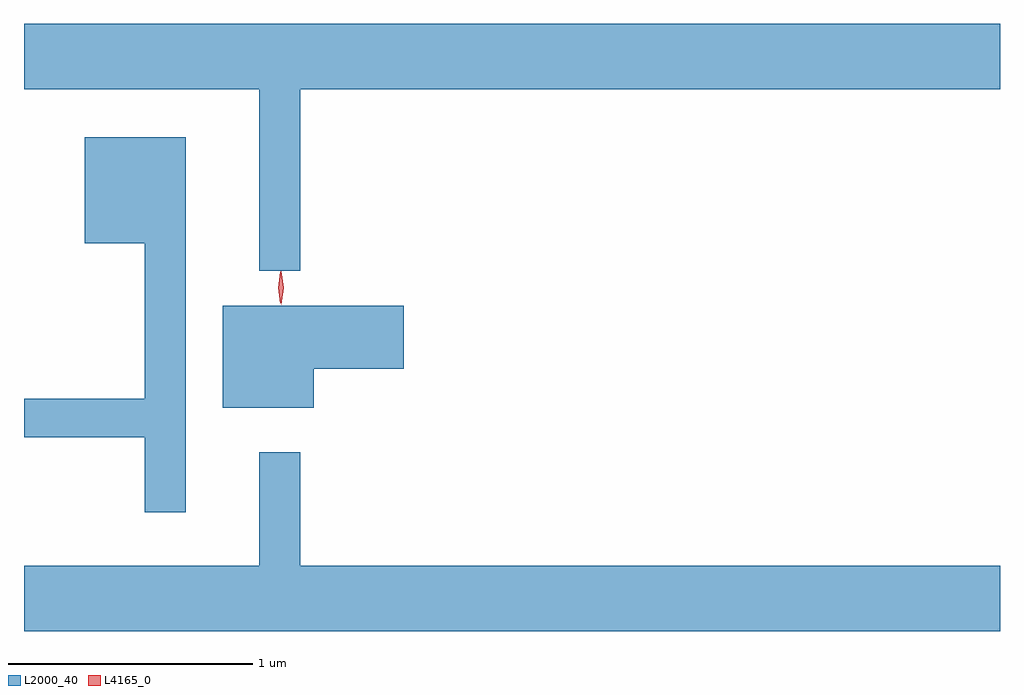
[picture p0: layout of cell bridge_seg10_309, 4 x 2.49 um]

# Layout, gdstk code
import gdstk
lib = gdstk.Library(unit=1e-6, precision=1e-09)
def P(c, l, *ps):  # polygons
    for p in ps: c.add(gdstk.Polygon(p, *l))
L2000_40 = (2000, 40)
L4165_0 = (4165, 0)

bridge_seg10_309 = lib.new_cell('bridge_seg10_309')
P(bridge_seg10_309, L2000_40, [(1406.469,2198.276),(1409.337,2198.276),(1409.337,2198.544),(1405.337,2198.544),(1405.337,2198.276),(1406.301,2198.276),(1406.301,2197.533),(1406.469,2197.533)],
  [(1405.999,2198.079),(1405.586,2198.079),(1405.586,2197.646),(1405.831,2197.646),(1405.831,2197.009),(1405.337,2197.009),(1405.337,2196.851),(1405.831,2196.851),(1405.831,2196.543),(1405.999,2196.543)],
  [(1406.524,2197.131),(1406.894,2197.131),(1406.894,2197.389),(1406.151,2197.389),(1406.151,2196.971),(1406.524,2196.971)],
  [(1409.337,2196.324),(1406.469,2196.324),(1406.469,2196.788),(1406.301,2196.788),(1406.301,2196.324),(1405.337,2196.324),(1405.337,2196.056),(1409.337,2196.056)])
P(bridge_seg10_309, L4165_0, [(1406.391,2197.394),(1406.391,2197.394),(1406.381,2197.462),(1406.39,2197.53),(1406.391,2197.53),(1406.391,2197.53),(1406.401,2197.462),(1406.392,2197.394)],
  [(1406.388,2197.4),(1406.388,2197.4),(1406.378,2197.463),(1406.388,2197.526),(1406.388,2197.527),(1406.388,2197.526),(1406.398,2197.463),(1406.388,2197.4)])

lib.write_gds('bridge_seg10_309.gds')
